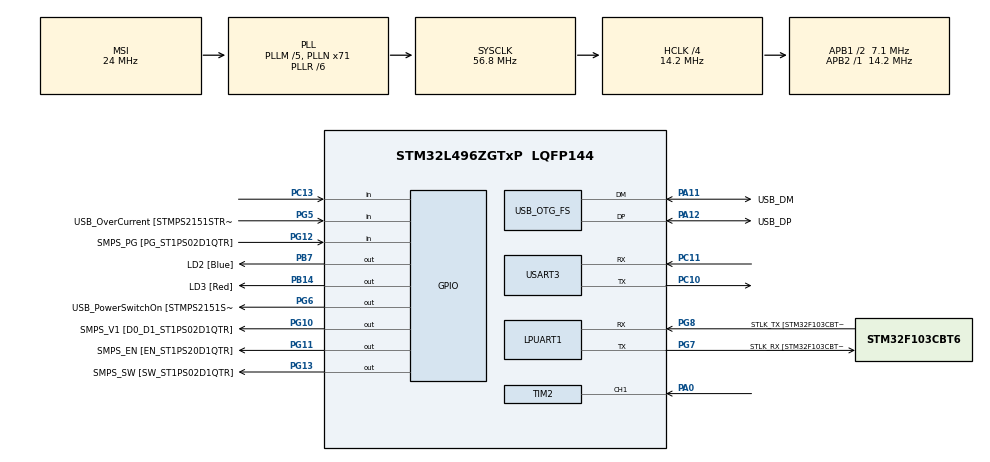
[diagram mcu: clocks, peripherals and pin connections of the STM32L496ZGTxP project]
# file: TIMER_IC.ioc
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Mcu.Family=STM32L4
Mcu.Name=STM32L496ZGTxP
Mcu.Package=LQFP144
NVIC.OTG_FS_IRQn=true\:0\:0\:false\:false\:true\:true\:true\:true
NVIC.PriorityGroup=NVIC_PRIORITYGROUP_4
PA0.Signal=S_TIM2_CH1
PA11.GPIO_Label=USB_DM
PA11.Mode=Host_Only
PA11.Signal=USB_OTG_FS_DM
PA12.GPIO_Label=USB_DP
PA12.Mode=Host_Only
PA12.Signal=USB_OTG_FS_DP
PA14\ (JTCK/SWCLK).GPIO_Label=TCK
PA14\ (JTCK/SWCLK).Signal=SYS_JTCK-SWCLK
PB14.GPIO_Label=LD3 [Red]
PB14.Signal=GPIO_Output
PB3\ (JTDO/TRACESWO).GPIO_Label=SWO
PB3\ (JTDO/TRACESWO).Signal=SYS_JTDO-SWO
PB7.GPIO_Label=LD2 [Blue]
PB7.Signal=GPIO_Output
PC10.Mode=Asynchronous
PC10.Signal=USART3_TX
PC11.Mode=Asynchronous
PC11.Signal=USART3_RX
PC13.Signal=GPIO_Input
PC14-OSC32_IN\ (PC14).Mode=LSE-External-Oscillator
PC14-OSC32_IN\ (PC14).Signal=RCC_OSC32_IN
PC15-OSC32_OUT\ (PC15).Mode=LSE-External-Oscillator
PC15-OSC32_OUT\ (PC15).Signal=RCC_OSC32_OUT
PG10.GPIO_Label=SMPS_V1 [D0_D1_ST1PS02D1QTR]
PG10.Signal=GPIO_Output
PG11.GPIO_Label=SMPS_EN [EN_ST1PS20D1QTR]
PG11.Signal=GPIO_Output
PG12.GPIO_Label=SMPS_PG [PG_ST1PS02D1QTR]
PG12.Signal=GPIO_Input
PG13.GPIO_Label=SMPS_SW [SW_ST1PS02D1QTR]
PG13.Signal=GPIO_Output
PG5.GPIO_Label=USB_OverCurrent [STMPS2151STR_FAULT]
PG5.Signal=GPIO_Input
PG6.GPIO_Label=USB_PowerSwitchOn [STMPS2151STR_EN]
PG6.Signal=GPIO_Output
PG7.GPIO_Label=STLK_RX [STM32F103CBT6_PA3]
PG7.Mode=Asynchronous
PG7.Signal=LPUART1_TX
PG8.GPIO_Label=STLK_TX [STM32F103CBT6_PA2]
PG8.Mode=Asynchronous
PG8.Signal=LPUART1_RX
PH0-OSC_IN\ (PH0).GPIO_Label=MCO
PH0-OSC_IN\ (PH0).Signal=RCC_OSC_IN
PH1-OSC_OUT\ (PH1).Signal=RCC_OSC_OUT
ProjectManager.HeapSize=0x200
ProjectManager.StackSize=0x400
ProjectManager.TargetToolchain=STM32CubeIDE
RCC.48MHZClocksFreq_Value=24000000
RCC.ADCFreq_Value=48000000
RCC.AHBCLKDivider=RCC_SYSCLK_DIV4
RCC.AHBFreq_Value=14200000
RCC.APB1CLKDivider=RCC_HCLK_DIV2
RCC.APB1Freq_Value=7100000
RCC.APB1TimFreq_Value=14200000
RCC.APB2Freq_Value=14200000
RCC.APB2TimFreq_Value=14200000
RCC.CortexFreq_Value=14200000
RCC.HCLKFreq_Value=14200000
RCC.HSE_VALUE=8000000
RCC.HSI48_VALUE=48000000
RCC.HSI_VALUE=16000000
RCC.MSIClockRange=RCC_MSIRANGE_9
RCC.MSI_VALUE=24000000
RCC.PLLM=5
RCC.PLLMUL=RCC_PLL_MUL9
RCC.PLLN=71
RCC.PLLR=RCC_PLLR_DIV6
RCC.PLLSAI1N=20
RCC.PRESCALERUSB=RCC_USBCLKSOURCE_PLL_DIV1_5
RCC.SYSCLKFreq_VALUE=56800000
RCC.SYSCLKSource=RCC_SYSCLKSOURCE_PLLCLK
RCC.SYSCLKSourceVirtual=RCC_SYSCLKSOURCE_PLLCLK
RCC.USBFreq_Value=48000000
RCC.VCOOutputFreq_Value=340800000
SH.S_TIM2_CH1.0=TIM2_CH1,Input_Capture1_from_TI1
TIM2.Channel-Input_Capture1_from_TI1=TIM_CHANNEL_1
USART3.VirtualMode-Asynchronous=VM_ASYNC
USB_HOST.BSP.number=1
USB_HOST.USBH_HandleTypeDef=hUsbHostFS
USB_HOST.VirtualModeFS=Audio
USB_HOST0.BSP.STBoard=false
USB_HOST0.BSP.api=UnknownBspDriver
USB_HOST0.BSP.instance=PG6
USB_HOST0.BSP.ip=GPIO
USB_HOST0.BSP.mode=Output
USB_HOST0.BSP.name=Drive_VBUS_FS
USB_HOST0.BSP.solution=PG6
USB_OTG_FS.VirtualMode=Host_Only
USB_OTG_FS.phy_itface=HCD_PHY_EMBEDDED
VP_TIM2_VS_ClockSourceITR.Mode=TriggerSource_ITR0
VP_TIM2_VS_ControllerModeClock.Mode=Clock Mode
VP_USB_HOST_VS_USB_HOST_AUDIO_FS.Mode=AUDIO_FS
board=NUCLEO-L496ZG-P

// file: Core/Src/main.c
/* USER CODE BEGIN Header */
/**
  ******************************************************************************
  * @file           : main.c
  * @brief          : Main program body
  ******************************************************************************
  * @attention
  *
  * Copyright (c) 2023 STMicroelectronics.
  * All rights reserved.
  *
  * This software is licensed under terms that can be found in the LICENSE file
  * in the root directory of this software component.
  * If no LICENSE file comes with this software, it is provided AS-IS.
  *
  ******************************************************************************
  */
/* USER CODE END Header */
#include "main.h"
#include "usb_host.h"

/* USER CODE BEGIN Includes */
#include<string.h>
#include<stdio.h>
/* USER CODE END Includes */

/* USER CODE BEGIN PM */
#define TRUE 1
#define FALSE 0
/* USER CODE END PM */

UART_HandleTypeDef hlpuart1;
UART_HandleTypeDef huart3;

TIM_HandleTypeDef htim2;

/* USER CODE BEGIN PV */

uint32_t input_captures[2]={0};
uint8_t count = 1;
uint8_t is_capture_done = FALSE;
/* USER CODE END PV */

void SystemClock_Config(void);
static void MX_GPIO_Init(void);
static void MX_LPUART1_UART_Init(void);
static void MX_USART3_UART_Init(void);
static void MX_TIM2_Init(void);
void MX_USB_HOST_Process(void);

int main(void)
{
  /* USER CODE BEGIN 1 */
uint32_t captur_difference=0;
double timer2_cnt_freq=0;
double timer2_cnt_res=0;
double user_signal_time_period=0;
double user_signal_freq=0;
char usr_msg[100]="Application is Running\r\n";
  /* USER CODE END 1 */

  /* MCU Configuration--------------------------------------------------------*/

  /* Reset of all peripherals, Initializes the Flash interface and the Systick. */
  HAL_Init();

  /* Configure the system clock */
  SystemClock_Config();

  /* Initialize all configured peripherals */
  MX_GPIO_Init();
  MX_LPUART1_UART_Init();
  MX_USB_HOST_Init();
  MX_USART3_UART_Init();
  MX_TIM2_Init();
  /* USER CODE BEGIN 2 */
  HAL_TIM_IC_Start_IT(&htim2, TIM_CHANNEL_1);
  HAL_UART_Transmit(&huart3, (uint8_t*)usr_msg, strlen(usr_msg), 1000);
  /* USER CODE END 2 */

  /* Infinite loop */
  while (1)
  {
    MX_USB_HOST_Process();

    /* USER CODE BEGIN 3 */
    if(is_capture_done){
    	if(input_captures[1]>input_captures[0]){
    		captur_difference=input_captures[1]-input_captures[0];
    	}else{
    		captur_difference=(0xFFFFFFFF - input_captures[0])+input_captures[1];
    	}

		timer2_cnt_freq=(HAL_RCC_GetPCLK1Freq()*2)/htim2.Init.Prescaler;
		timer2_cnt_res=1/timer2_cnt_freq;
		user_signal_time_period=captur_difference * timer2_cnt_res;
		user_signal_freq=1/user_signal_time_period;

		sprintf(usr_msg,"Frequency of the Signal applied : %lf \r\n",user_signal_freq);
		HAL_UART_Transmit(&huart3, (uint8_t*)usr_msg, strlen(usr_msg), 1000);

		is_capture_done =FALSE;

    }
  }
  /* USER CODE END 3 */
}

void SystemClock_Config(void)
{
  RCC_OscInitTypeDef RCC_OscInitStruct = {0};
  RCC_ClkInitTypeDef RCC_ClkInitStruct = {0};

  /** Configure the main internal regulator output voltage
  */
  if (HAL_PWREx_ControlVoltageScaling(PWR_REGULATOR_VOLTAGE_SCALE1) != HAL_OK)
  {
    Error_Handler();
  }

  /** Configure LSE Drive Capability
  */
  HAL_PWR_EnableBkUpAccess();
  __HAL_RCC_LSEDRIVE_CONFIG(RCC_LSEDRIVE_LOW);

  /** Initializes the RCC Oscillators according to the specified parameters
  * in the RCC_OscInitTypeDef structure.
  */
  RCC_OscInitStruct.OscillatorType = RCC_OSCILLATORTYPE_LSE|RCC_OSCILLATORTYPE_MSI;
  RCC_OscInitStruct.LSEState = RCC_LSE_ON;
  RCC_OscInitStruct.MSIState = RCC_MSI_ON;
  RCC_OscInitStruct.MSICalibrationValue = 0;
  RCC_OscInitStruct.MSIClockRange = RCC_MSIRANGE_9;
  RCC_OscInitStruct.PLL.PLLState = RCC_PLL_ON;
  RCC_OscInitStruct.PLL.PLLSource = RCC_PLLSOURCE_MSI;
  RCC_OscInitStruct.PLL.PLLM = 5;
  RCC_OscInitStruct.PLL.PLLN = 71;
  RCC_OscInitStruct.PLL.PLLP = RCC_PLLP_DIV2;
  RCC_OscInitStruct.PLL.PLLQ = RCC_PLLQ_DIV2;
  RCC_OscInitStruct.PLL.PLLR = RCC_PLLR_DIV6;
  if (HAL_RCC_OscConfig(&RCC_OscInitStruct) != HAL_OK)
  {
    Error_Handler();
  }

  /** Initializes the CPU, AHB and APB buses clocks
  */
  RCC_ClkInitStruct.ClockType = RCC_CLOCKTYPE_HCLK|RCC_CLOCKTYPE_SYSCLK
                              |RCC_CLOCKTYPE_PCLK1|RCC_CLOCKTYPE_PCLK2;
  RCC_ClkInitStruct.SYSCLKSource = RCC_SYSCLKSOURCE_PLLCLK;
  RCC_ClkInitStruct.AHBCLKDivider = RCC_SYSCLK_DIV4;
  RCC_ClkInitStruct.APB1CLKDivider = RCC_HCLK_DIV2;
  RCC_ClkInitStruct.APB2CLKDivider = RCC_HCLK_DIV1;

  if (HAL_RCC_ClockConfig(&RCC_ClkInitStruct, FLASH_LATENCY_0) != HAL_OK)
  {
    Error_Handler();
  }

  /** Enable MSI Auto calibration
  */
  HAL_RCCEx_EnableMSIPLLMode();
}

static void MX_LPUART1_UART_Init(void)
{

  hlpuart1.Instance = LPUART1;
  hlpuart1.Init.BaudRate = 209700;
  hlpuart1.Init.WordLength = UART_WORDLENGTH_7B;
  hlpuart1.Init.StopBits = UART_STOPBITS_1;
  hlpuart1.Init.Parity = UART_PARITY_NONE;
  hlpuart1.Init.Mode = UART_MODE_TX_RX;
  hlpuart1.Init.HwFlowCtl = UART_HWCONTROL_NONE;
  hlpuart1.Init.OneBitSampling = UART_ONE_BIT_SAMPLE_DISABLE;
  hlpuart1.AdvancedInit.AdvFeatureInit = UART_ADVFEATURE_NO_INIT;
  if (HAL_UART_Init(&hlpuart1) != HAL_OK)
  {
    Error_Handler();
  }

}

static void MX_USART3_UART_Init(void)
{

  huart3.Instance = USART3;
  huart3.Init.BaudRate = 115200;
  huart3.Init.WordLength = UART_WORDLENGTH_8B;
  huart3.Init.StopBits = UART_STOPBITS_1;
  huart3.Init.Parity = UART_PARITY_NONE;
  huart3.Init.Mode = UART_MODE_TX_RX;
  huart3.Init.HwFlowCtl = UART_HWCONTROL_NONE;
  huart3.Init.OverSampling = UART_OVERSAMPLING_16;
  huart3.Init.OneBitSampling = UART_ONE_BIT_SAMPLE_DISABLE;
  huart3.AdvancedInit.AdvFeatureInit = UART_ADVFEATURE_NO_INIT;
  if (HAL_UART_Init(&huart3) != HAL_OK)
  {
    Error_Handler();
  }

}

static void MX_TIM2_Init(void)
{

  TIM_SlaveConfigTypeDef sSlaveConfig = {0};
  TIM_MasterConfigTypeDef sMasterConfig = {0};
  TIM_IC_InitTypeDef sConfigIC = {0};

  htim2.Instance = TIM2;
  htim2.Init.Prescaler = 0;
  htim2.Init.CounterMode = TIM_COUNTERMODE_UP;
  htim2.Init.Period = 4294967295;
  htim2.Init.ClockDivision = TIM_CLOCKDIVISION_DIV1;
  htim2.Init.AutoReloadPreload = TIM_AUTORELOAD_PRELOAD_DISABLE;
  if (HAL_TIM_Base_Init(&htim2) != HAL_OK)
  {
    Error_Handler();
  }
  if (HAL_TIM_IC_Init(&htim2) != HAL_OK)
  {
    Error_Handler();
  }
  sSlaveConfig.SlaveMode = TIM_SLAVEMODE_EXTERNAL1;
  sSlaveConfig.InputTrigger = TIM_TS_ITR0;
  if (HAL_TIM_SlaveConfigSynchro(&htim2, &sSlaveConfig) != HAL_OK)
  {
    Error_Handler();
  }
  sMasterConfig.MasterOutputTrigger = TIM_TRGO_RESET;
  sMasterConfig.MasterSlaveMode = TIM_MASTERSLAVEMODE_DISABLE;
  if (HAL_TIMEx_MasterConfigSynchronization(&htim2, &sMasterConfig) != HAL_OK)
  {
    Error_Handler();
  }
  sConfigIC.ICPolarity = TIM_INPUTCHANNELPOLARITY_RISING;
  sConfigIC.ICSelection = TIM_ICSELECTION_DIRECTTI;
  sConfigIC.ICPrescaler = TIM_ICPSC_DIV1;
  sConfigIC.ICFilter = 0;
  if (HAL_TIM_IC_ConfigChannel(&htim2, &sConfigIC, TIM_CHANNEL_1) != HAL_OK)
  {
    Error_Handler();
  }

}

static void MX_GPIO_Init(void)
{
  GPIO_InitTypeDef GPIO_InitStruct = {0};

  /* GPIO Ports Clock Enable */
  __HAL_RCC_GPIOC_CLK_ENABLE();
  __HAL_RCC_GPIOH_CLK_ENABLE();
  __HAL_RCC_GPIOA_CLK_ENABLE();
  __HAL_RCC_GPIOB_CLK_ENABLE();
  __HAL_RCC_GPIOG_CLK_ENABLE();
  HAL_PWREx_EnableVddIO2();

  /*Configure GPIO pin Output Level */
  HAL_GPIO_WritePin(GPIOB, LD3_Pin|LD2_Pin, GPIO_PIN_RESET);

  /*Configure GPIO pin Output Level */
  HAL_GPIO_WritePin(GPIOG, USB_PowerSwitchOn_Pin|SMPS_V1_Pin|SMPS_EN_Pin|SMPS_SW_Pin, GPIO_PIN_RESET);

  /*Configure GPIO pin : PC13 */
  GPIO_InitStruct.Pin = GPIO_PIN_13;
  GPIO_InitStruct.Mode = GPIO_MODE_INPUT;
  GPIO_InitStruct.Pull = GPIO_NOPULL;
  HAL_GPIO_Init(GPIOC, &GPIO_InitStruct);

  /*Configure GPIO pins : LD3_Pin LD2_Pin */
  GPIO_InitStruct.Pin = LD3_Pin|LD2_Pin;
  GPIO_InitStruct.Mode = GPIO_MODE_OUTPUT_PP;
  GPIO_InitStruct.Pull = GPIO_NOPULL;
  GPIO_InitStruct.Speed = GPIO_SPEED_FREQ_LOW;
  HAL_GPIO_Init(GPIOB, &GPIO_InitStruct);

  /*Configure GPIO pins : USB_OverCurrent_Pin SMPS_PG_Pin */
  GPIO_InitStruct.Pin = USB_OverCurrent_Pin|SMPS_PG_Pin;
  GPIO_InitStruct.Mode = GPIO_MODE_INPUT;
  GPIO_InitStruct.Pull = GPIO_NOPULL;
  HAL_GPIO_Init(GPIOG, &GPIO_InitStruct);

  /*Configure GPIO pins : USB_PowerSwitchOn_Pin SMPS_V1_Pin SMPS_EN_Pin SMPS_SW_Pin */
  GPIO_InitStruct.Pin = USB_PowerSwitchOn_Pin|SMPS_V1_Pin|SMPS_EN_Pin|SMPS_SW_Pin;
  GPIO_InitStruct.Mode = GPIO_MODE_OUTPUT_PP;
  GPIO_InitStruct.Pull = GPIO_NOPULL;
  GPIO_InitStruct.Speed = GPIO_SPEED_FREQ_LOW;
  HAL_GPIO_Init(GPIOG, &GPIO_InitStruct);

}

void Error_Handler(void)
{
  __disable_irq();
  while (1)
  {
  }
}
